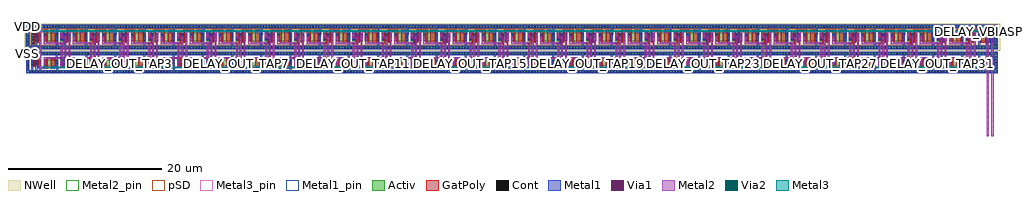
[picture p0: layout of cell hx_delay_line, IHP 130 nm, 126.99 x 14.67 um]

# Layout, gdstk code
import gdstk
lib = gdstk.Library(unit=1e-6, precision=1e-09)
def R(c, l, rs):  # rectangles x0, y0, x1, y1
    for r in rs: c.add(gdstk.rectangle(r[:2], r[2:], *l))
def A(c, l, x, y, w, h, nx, ny, dx, dy):  # array of equal rectangles
    R(c, l, [(x+i*dx, y+j*dy, x+i*dx+w, y+j*dy+h) for i in range(nx) for j in range(ny)])
def P(c, l, *ps):  # polygons
    for p in ps: c.add(gdstk.Polygon(p, *l))
Activ = (1, 0)
GatPoly = (5, 0)
Cont = (6, 0)
Metal1 = (8, 0)
Metal1_pin = (8, 2)
Metal2 = (10, 0)
Metal2_pin = (10, 2)
pSD = (14, 0)
Via1 = (19, 0)
Via2 = (29, 0)
Metal3 = (30, 0)
Metal3_pin = (30, 2)
NWell = (31, 0)

hx_delay_cell_right_endc = lib.new_cell('hx_delay_cell_right_endcap')
R(hx_delay_cell_right_endc, Activ, [(0.715,0.795,2.575,1.535), (0.715,3.935,2.575,5.055)])
P(hx_delay_cell_right_endc, Activ, [(0.6,-0.15),(0.6,0.15),(2.885,0.15),(2.885,2.195),(0.6,2.195),(0.6,2.495),(3.185,2.495),(3.185,-0.15)],
  [(0.6,2.975),(0.6,3.275),(2.885,3.275),(2.885,5.715),(0.6,5.715),(0.6,6.015),(3.185,6.015),(3.185,2.975)])
R(hx_delay_cell_right_endc, GatPoly, [(1.055,0.405,1.655,1.715), (1.055,3.755,1.655,5.445)])
P(hx_delay_cell_right_endc, GatPoly, [(2.035,3.755),(2.035,5.445),(2.575,5.445),(2.575,5.145),(2.235,5.145),(2.235,3.755)],
  [(2.035,0.405),(2.035,1.715),(2.235,1.715),(2.235,0.705),(2.575,0.705),(2.575,0.405)])
A(hx_delay_cell_right_endc, Cont, 0.71, -0.08, 0.16, 0.16, 6, 2, 0.38, 2.345)
A(hx_delay_cell_right_endc, Cont, 2.955, -0.035, 0.16, 0.16, 1, 7, 0, 0.38)
A(hx_delay_cell_right_endc, Cont, 0.71, 3.045, 0.16, 0.16, 6, 2, 0.38, 2.74)
A(hx_delay_cell_right_endc, Cont, 2.955, 3.085, 0.16, 0.16, 1, 8, 0, 0.38)
A(hx_delay_cell_right_endc, Cont, 1.765, 4.005, 0.16, 0.16, 1, 3, 0, 0.385)
A(hx_delay_cell_right_endc, Cont, 2.345, 4.005, 0.16, 0.16, 1, 3, 0, 0.385)
R(hx_delay_cell_right_endc, Cont, [(1.275,0.475,1.435,0.635), (2.345,0.475,2.505,0.635), (0.785,0.965,0.945,1.125), (1.765,0.965,1.925,1.125), (2.345,0.965,2.505,1.125), (0.785,1.305,0.945,1.465), (1.765,1.305,1.925,1.465), (2.345,1.305,2.505,1.465), (0.785,4.005,0.945,4.165), (0.785,4.415,0.945,4.575), (0.785,4.775,0.945,4.935), (1.275,5.215,1.435,5.375), (2.345,5.215,2.505,5.375)])
R(hx_delay_cell_right_endc, Metal1, [(1.21,0.22,1.5,0.705), (1.7,0.22,1.99,2.125), (2.28,0.22,2.57,2.125), (1.7,3.345,1.99,5.645), (2.28,3.345,2.57,5.645), (1.21,5.145,1.5,5.645)])
P(hx_delay_cell_right_endc, Metal1, [(0.6,2.905),(0.6,3.345),(2.815,3.345),(2.815,5.645),(0.6,5.645),(0.6,6.085),(3.255,6.085),(3.255,2.905)],
  [(0.6,-0.22),(0.6,0.22),(2.81,0.22),(2.81,2.125),(0.6,2.125),(0.6,2.565),(3.25,2.565),(3.25,-0.22)],
  [(0.735,3.345),(0.735,4.805),(0.695,4.805),(0.695,5.645),(0.945,5.645),(0.945,4.985),(0.995,4.985),(0.995,3.345)],
  [(0.695,0.22),(0.695,1.125),(0.735,1.125),(0.735,2.125),(0.995,2.125),(0.995,0.86),(0.945,0.86),(0.945,0.22)])
R(hx_delay_cell_right_endc, Metal1_pin, [(0.645,2.125,3.25,2.565), (0.645,2.905,3.255,3.345)])
R(hx_delay_cell_right_endc, pSD, [(0.535,3.36,2.755,5.615)])
P(hx_delay_cell_right_endc, pSD, [(0.57,-0.18),(0.57,0.18),(2.85,0.18),(2.85,2.165),(0.57,2.165),(0.57,2.525),(3.215,2.525),(3.215,-0.18)])
R(hx_delay_cell_right_endc, NWell, [(-1.35,2.735,3.54,6.255)])
hx_delay_cell_right_endc.add(gdstk.Label('VDD', (3.045,3.305), layer=8, texttype=25))
hx_delay_cell_right_endc.add(gdstk.Label('VSS', (3.005,2.515), layer=8, texttype=25))

hx_delay_cell_left_endca = lib.new_cell('hx_delay_cell_left_endcap')
R(hx_delay_cell_left_endca, Activ, [(0.61,0.795,1.93,1.535), (0.61,3.935,1.93,5.055)])
P(hx_delay_cell_left_endca, Activ, [(0,2.975),(0,6.015),(2.115,6.015),(2.115,5.715),(0.3,5.715),(0.3,3.275),(2.115,3.275),(2.115,2.975)],
  [(0,-0.15),(0,2.495),(2.115,2.495),(2.115,2.195),(0.3,2.195),(0.3,0.15),(2.115,0.15),(2.115,-0.15)])
P(hx_delay_cell_left_endca, GatPoly, [(0.61,3.545),(0.61,3.845),(0.95,3.845),(0.95,5.235),(1.08,5.235),(1.08,3.545)],
  [(1.46,3.755),(1.46,5.145),(1.375,5.145),(1.375,5.445),(1.675,5.445),(1.675,5.145),(1.59,5.145),(1.59,3.755)],
  [(1.375,0.42),(1.375,0.72),(1.46,0.72),(1.46,1.73),(1.59,1.73),(1.59,0.72),(1.675,0.72),(1.675,0.42)],
  [(0.95,0.615),(0.95,1.625),(0.61,1.625),(0.61,1.925),(1.08,1.925),(1.08,0.615)])
A(hx_delay_cell_left_endca, Cont, 0.325, -0.08, 0.16, 0.16, 5, 2, 0.38, 2.345)
A(hx_delay_cell_left_endca, Cont, 0.07, 0.345, 0.16, 0.16, 1, 5, 0, 0.38)
A(hx_delay_cell_left_endca, Cont, 0.325, 3.045, 0.16, 0.16, 5, 2, 0.38, 2.74)
A(hx_delay_cell_left_endca, Cont, 0.07, 3.465, 0.16, 0.16, 1, 6, 0, 0.38)
R(hx_delay_cell_left_endca, Cont, [(1.445,0.49,1.605,0.65), (0.68,0.865,0.84,1.025), (1.19,0.965,1.35,1.125), (1.7,0.965,1.86,1.125), (0.68,1.205,0.84,1.365), (1.19,1.305,1.35,1.465), (1.7,1.305,1.86,1.465), (0.68,1.695,0.84,1.855), (0.68,3.615,0.84,3.775), (1.19,4.005,1.35,4.165), (1.7,4.005,1.86,4.165), (0.68,4.13,0.84,4.29), (1.19,4.415,1.35,4.575), (1.7,4.415,1.86,4.575), (0.68,4.475,0.84,4.635), (1.19,4.775,1.35,4.935), (1.7,4.775,1.86,4.935), (0.68,4.825,0.84,4.985), (1.445,5.215,1.605,5.375)])
R(hx_delay_cell_left_endca, Metal1, [(0.63,0.22,0.89,2.125), (0.615,3.345,0.905,5.645)])
P(hx_delay_cell_left_endca, Metal1, [(1.14,3.345),(1.14,5.645),(1.385,5.645),(1.385,5.445),(1.635,5.445),(1.635,5.645),(1.925,5.645),(1.925,3.345),(1.635,3.345),(1.635,5.145),(1.385,5.145),(1.385,3.345)],
  [(1.14,0.22),(1.14,2.125),(1.4,2.125),(1.4,0.72),(1.65,0.72),(1.65,2.125),(1.91,2.125),(1.91,0.22),(1.65,0.22),(1.65,0.42),(1.4,0.42),(1.4,0.22)],
  [(-0.075,2.905),(-0.075,6.085),(2.115,6.085),(2.115,5.645),(0.375,5.645),(0.375,3.345),(2.115,3.345),(2.115,2.905)],
  [(-0.07,-0.22),(-0.07,2.565),(2.115,2.565),(2.115,2.125),(0.38,2.125),(0.38,0.22),(2.115,0.22),(2.115,-0.22)])
R(hx_delay_cell_left_endca, Metal1_pin, [(-0.07,-0.22,2.115,0.22), (-0.07,2.125,1.395,2.565), (-0.075,2.905,1.395,3.345), (-0.075,5.645,2.115,6.085)])
R(hx_delay_cell_left_endca, pSD, [(0.43,3.36,2.17,5.615)])
P(hx_delay_cell_left_endca, pSD, [(-0.03,-0.18),(-0.03,2.525),(2.225,2.525),(2.225,2.165),(0.34,2.165),(0.34,0.18),(2.225,0.18),(2.225,-0.18)])
R(hx_delay_cell_left_endca, NWell, [(-0.335,2.735,2.465,6.255)])
hx_delay_cell_left_endca.add(gdstk.Label('VSS', (0.15,0.17), layer=8, texttype=25))
hx_delay_cell_left_endca.add(gdstk.Label('VDD', (0.14,3.305), layer=8, texttype=25))
hx_delay_cell_left_endca.add(gdstk.Label('VSS', (0.175,2.515), layer=8, texttype=25))

hx_delay_cell = lib.new_cell('hx_delay_cell')
R(hx_delay_cell, Activ, [(0,-0.15,3.8,0.15), (0.115,0.795,1.975,1.535), (2.285,0.795,3.605,1.535), (0,2.195,3.8,2.495), (0,2.975,3.8,3.275), (0.115,3.935,1.975,5.055), (2.285,3.935,3.605,5.055), (0,5.715,3.8,6.015)])
R(hx_delay_cell, GatPoly, [(1.035,0.405,1.635,1.715), (1.035,3.755,1.635,5.445)])
P(hx_delay_cell, GatPoly, [(0.115,0.405),(0.115,0.705),(0.455,0.705),(0.455,1.715),(0.655,1.715),(0.655,0.405)],
  [(0.455,3.755),(0.455,5.145),(0.115,5.145),(0.115,5.445),(0.655,5.445),(0.655,3.755)],
  [(2.285,3.545),(2.285,3.845),(2.625,3.845),(2.625,5.235),(2.755,5.235),(2.755,3.545)],
  [(3.135,3.755),(3.135,5.145),(3.05,5.145),(3.05,5.445),(3.35,5.445),(3.35,5.145),(3.265,5.145),(3.265,3.755)],
  [(2.625,0.615),(2.625,1.625),(2.285,1.625),(2.285,1.925),(2.755,1.925),(2.755,0.615)],
  [(3.05,0.42),(3.05,0.72),(3.135,0.72),(3.135,1.73),(3.265,1.73),(3.265,0.72),(3.35,0.72),(3.35,0.42)])
A(hx_delay_cell, Cont, 0.11, -0.08, 0.16, 0.16, 10, 2, 0.38, 2.345)
A(hx_delay_cell, Cont, 0.11, 3.045, 0.16, 0.16, 10, 2, 0.38, 2.74)
A(hx_delay_cell, Cont, 0.185, 4.005, 0.16, 0.16, 1, 3, 0, 0.385)
R(hx_delay_cell, Cont, [(0.185,0.475,0.345,0.635), (1.255,0.475,1.415,0.635), (3.12,0.49,3.28,0.65), (2.355,0.865,2.515,1.025), (0.185,0.965,0.345,1.125), (1.745,0.965,1.905,1.125), (2.865,0.965,3.025,1.125), (3.375,0.965,3.535,1.125), (2.355,1.205,2.515,1.365), (0.185,1.305,0.345,1.465), (1.745,1.305,1.905,1.465), (2.865,1.305,3.025,1.465), (3.375,1.305,3.535,1.465), (2.355,1.695,2.515,1.855), (2.355,3.615,2.515,3.775), (1.745,4.005,1.905,4.165), (2.865,4.005,3.025,4.165), (3.375,4.005,3.535,4.165), (2.355,4.13,2.515,4.29), (1.745,4.415,1.905,4.575), (2.865,4.415,3.025,4.575), (3.375,4.415,3.535,4.575), (2.355,4.475,2.515,4.635), (1.745,4.775,1.905,4.935), (2.865,4.775,3.025,4.935), (3.375,4.775,3.535,4.935), (2.355,4.825,2.515,4.985), (0.185,5.215,0.345,5.375), (1.255,5.215,1.415,5.375), (3.12,5.215,3.28,5.375)])
R(hx_delay_cell, Metal1, [(1.19,0.41,1.48,0.79), (0.05,0.425,0.405,0.685), (0.12,0.9,0.41,1.6), (3.325,0.9,3.585,1.6), (2.205,1.63,2.58,1.92), (2.205,3.55,2.58,3.84), (3.31,3.935,3.6,4.985), (0.12,3.94,0.41,4.945), (1.19,5.06,1.48,5.44), (0.03,5.15,0.41,5.44)])
P(hx_delay_cell, Metal1, [(2.305,0.44),(2.305,1.43),(2.565,1.43),(2.565,0.7),(3.33,0.7),(3.33,0.44)],
  [(2.29,4.065),(2.29,5.425),(3.33,5.425),(3.33,5.165),(2.58,5.165),(2.58,4.065)],
  [(0,-0.22),(0,0.22),(1.745,0.22),(1.745,0.86),(1.695,0.86),(1.695,2.125),(0,2.125),(0,2.565),(3.8,2.565),(3.8,2.125),(3.075,2.125),(3.075,0.9),(2.815,0.9),(2.815,2.125),(1.955,2.125),(1.955,1.125),(1.995,1.125),(1.995,0.22),(3.8,0.22),(3.8,-0.22)],
  [(0,2.905),(0,3.345),(1.695,3.345),(1.695,4.985),(1.745,4.985),(1.745,5.645),(0,5.645),(0,6.085),(3.8,6.085),(3.8,5.645),(1.995,5.645),(1.995,4.805),(1.955,4.805),(1.955,3.345),(2.815,3.345),(2.815,4.985),(3.06,4.985),(3.06,3.345),(3.8,3.345),(3.8,2.905)])
R(hx_delay_cell, Metal1_pin, [(0,-0.22,2.075,0.22), (2.795,-0.22,3.8,0.22), (0,2.125,2.095,2.565), (0,2.905,2.095,3.345), (0,5.645,3.8,6.085)])
R(hx_delay_cell, Metal2, [(1.07,0.385,1.58,0.79), (1.08,5.06,1.59,5.465)])
P(hx_delay_cell, Metal2, [(-0.49,0.41),(-0.49,1.625),(-0.455,1.625),(-0.455,3.935),(-0.49,3.935),(-0.49,5.44),(0.41,5.44),(0.41,5.15),(-0.2,5.15),(-0.2,3.935),(-0.235,3.935),(-0.235,1.615),(-0.2,1.615),(-0.2,0.665),(0.405,0.665),(0.405,0.41)],
  [(0.12,0.92),(0.12,1.885),(2.285,1.885),(2.285,1.925),(2.345,1.925),(2.345,3.545),(2.265,3.545),(2.265,3.585),(0.12,3.585),(0.12,4.64),(0.41,4.64),(0.41,3.84),(2.58,3.84),(2.58,1.665),(0.41,1.665),(0.41,0.92)],
  [(2.29,0.73),(2.29,1.43),(2.83,1.43),(2.83,4.35),(2.29,4.35),(2.29,5.035),(2.58,5.035),(2.58,4.57),(3.05,4.57),(3.05,1.195),(2.58,1.195),(2.58,0.73)],
  [(3.31,0.41),(3.31,1.625),(3.345,1.625),(3.345,3.935),(3.31,3.935),(3.31,5.44),(4.21,5.44),(4.21,5.15),(3.6,5.15),(3.6,3.935),(3.565,3.935),(3.565,1.615),(3.6,1.615),(3.6,0.665),(4.205,0.665),(4.205,0.41)])
R(hx_delay_cell, Metal2_pin, [(-0.455,2.34,-0.235,3.14), (2.83,2.34,3.05,3.14), (3.345,2.34,3.565,3.14)])
R(hx_delay_cell, pSD, [(-0.07,-0.18,3.91,0.18), (-0.07,2.165,3.91,2.525), (-0.065,3.36,3.83,5.615)])
R(hx_delay_cell, Via1, [(0.165,0.46,0.355,0.65), (1.24,0.46,1.43,0.65), (2.34,0.78,2.53,0.97), (0.17,0.95,0.36,1.14), (3.36,0.95,3.55,1.14), (2.34,1.19,2.53,1.38), (0.17,1.36,0.36,1.55), (3.36,1.36,3.55,1.55), (2.34,1.68,2.53,1.87), (2.34,3.6,2.53,3.79), (0.17,3.99,0.36,4.18), (3.36,3.99,3.55,4.18), (0.17,4.4,0.36,4.59), (2.34,4.4,2.53,4.59), (3.36,4.4,3.55,4.59), (2.34,4.81,2.53,5), (0.17,5.2,0.36,5.39), (1.24,5.2,1.43,5.39)])
R(hx_delay_cell, Via2, [(1.24,0.46,1.43,0.65), (1.24,5.2,1.43,5.39)])
P(hx_delay_cell, Metal3, [(1.19,5.15),(1.19,5.175),(0,5.175),(0,5.415),(1.19,5.415),(1.19,5.465),(1.48,5.465),(1.48,5.415),(3.8,5.415),(3.8,5.175),(1.48,5.175),(1.48,5.15)],
  [(1.19,0.41),(1.19,0.435),(0,0.435),(0,0.675),(1.19,0.675),(1.19,0.7),(1.48,0.7),(1.48,0.675),(3.8,0.675),(3.8,0.435),(1.48,0.435),(1.48,0.41)])
R(hx_delay_cell, Metal3_pin, [(1.01,0.435,1.66,0.675), (1,5.175,1.67,5.415)])
R(hx_delay_cell, NWell, [(-0.24,2.735,4.04,6.255)])
hx_delay_cell.add(gdstk.Label('VDD', (0.04,6.05), layer=8, texttype=25))
hx_delay_cell.add(gdstk.Label('VSS', (2.835,0.19), layer=8, texttype=25))
hx_delay_cell.add(gdstk.Label('VDD', (0.065,3.32), layer=8, texttype=25))
hx_delay_cell.add(gdstk.Label('VSS', (0.07,2.525), layer=8, texttype=25))
hx_delay_cell.add(gdstk.Label('VSS', (0.03,0.195), layer=8, texttype=25))
hx_delay_cell.add(gdstk.Label('DELAY_CELL_OUT_INV', (3.43,2.8), layer=10, texttype=25))
hx_delay_cell.add(gdstk.Label('DELAY_CELL_OUT', (2.915,2.79), layer=10, texttype=25))
hx_delay_cell.add(gdstk.Label('DELAY_CELL_IN', (-0.32,2.755), layer=10, texttype=25))
hx_delay_cell.add(gdstk.Label('DELAY_VBIASP', (1.285,5.275), layer=30, texttype=25))
hx_delay_cell.add(gdstk.Label('DELAY_VBIASN', (1.33,0.555), layer=30, texttype=25))

hx_delay_line = lib.new_cell('hx_delay_line')
R(hx_delay_line, Metal1_pin, [(-0.07,2.125,0.73,2.565), (-0.075,5.645,0.725,6.085)])
R(hx_delay_line, Metal2, [(124.93,-8.415,125.22,6.085), (125.52,-8.415,125.81,6.085), (1.625,0.41,1.915,5.445), (123.225,0.9,123.515,4.64)])
A(hx_delay_line, Metal2_pin, 4.44, 0.73, 0.22, 0.7, 31, 1, 3.8, 0)
R(hx_delay_line, Metal2_pin, [(1.625,0.41,1.915,5.445), (123.225,0.9,123.515,4.64)])
R(hx_delay_line, Via2, [(125.57,0.455,125.76,0.645), (124.98,5.2,125.17,5.39)])
P(hx_delay_line, Metal3, [(125.515,0.405),(125.515,0.435),(123.715,0.435),(123.715,0.675),(125.52,0.675),(125.52,0.695),(125.81,0.695),(125.81,0.435),(125.81,0.405)],
  [(124.93,5.15),(124.93,5.175),(123.715,5.175),(123.715,5.415),(124.93,5.415),(124.93,5.44),(125.22,5.44),(125.22,5.15)])
R(hx_delay_line, Metal3_pin, [(123.715,0.435,125.81,0.675), (123.715,5.175,125.22,5.415)])
hx_delay_line.add(gdstk.Reference(hx_delay_cell_right_endc, (123.115,0)))
hx_delay_line.add(gdstk.Reference(hx_delay_cell_left_endca, (0,0)))
r = gdstk.Reference(hx_delay_cell, (2.115,0)); r.repetition = gdstk.Repetition(32, 1, v1=(3.8,0), v2=(0,0)); hx_delay_line.add(r)
hx_delay_line.add(gdstk.Label('VDD', (0.15,5.85), layer=8, texttype=25))
hx_delay_line.add(gdstk.Label('VSS', (0.155,2.33), layer=8, texttype=25))
hx_delay_line.add(gdstk.Label('DELAY_OUT_TAP1', (4.53,1.075), layer=10, texttype=25))
hx_delay_line.add(gdstk.Label('DELAY_OUT_TAP2', (8.33,1.075), layer=10, texttype=25))
hx_delay_line.add(gdstk.Label('DELAY_OUT_TAP3', (12.13,1.075), layer=10, texttype=25))
hx_delay_line.add(gdstk.Label('DELAY_OUT_TAP4', (15.93,1.075), layer=10, texttype=25))
hx_delay_line.add(gdstk.Label('DELAY_OUT_TAP5', (19.73,1.005), layer=10, texttype=25))
hx_delay_line.add(gdstk.Label('DELAY_OUT_TAP6', (23.53,1.005), layer=10, texttype=25))
hx_delay_line.add(gdstk.Label('DELAY_OUT_TAP7', (27.33,1.005), layer=10, texttype=25))
hx_delay_line.add(gdstk.Label('DELAY_OUT_TAP8', (31.13,1.005), layer=10, texttype=25))
hx_delay_line.add(gdstk.Label('DELAY_OUT_TAP9', (34.93,1.005), layer=10, texttype=25))
hx_delay_line.add(gdstk.Label('DELAY_OUT_TAP10', (38.73,1.005), layer=10, texttype=25))
hx_delay_line.add(gdstk.Label('DELAY_OUT_TAP11', (42.53,1.005), layer=10, texttype=25))
hx_delay_line.add(gdstk.Label('DELAY_OUT_TAP12', (46.33,1.005), layer=10, texttype=25))
hx_delay_line.add(gdstk.Label('DELAY_OUT_TAP13', (50.13,1.005), layer=10, texttype=25))
hx_delay_line.add(gdstk.Label('DELAY_OUT_TAP14', (53.93,1.005), layer=10, texttype=25))
hx_delay_line.add(gdstk.Label('DELAY_OUT_TAP15', (57.73,1.005), layer=10, texttype=25))
hx_delay_line.add(gdstk.Label('DELAY_OUT_TAP16', (61.53,1.005), layer=10, texttype=25))
hx_delay_line.add(gdstk.Label('DELAY_OUT_TAP17', (65.33,1.005), layer=10, texttype=25))
hx_delay_line.add(gdstk.Label('DELAY_OUT_TAP18', (69.13,1.005), layer=10, texttype=25))
hx_delay_line.add(gdstk.Label('DELAY_OUT_TAP19', (72.93,1.005), layer=10, texttype=25))
hx_delay_line.add(gdstk.Label('DELAY_OUT_TAP20', (76.73,1.005), layer=10, texttype=25))
hx_delay_line.add(gdstk.Label('DELAY_OUT_TAP21', (80.53,1.005), layer=10, texttype=25))
hx_delay_line.add(gdstk.Label('DELAY_OUT_TAP22', (84.33,1.005), layer=10, texttype=25))
hx_delay_line.add(gdstk.Label('DELAY_OUT_TAP23', (88.13,1.005), layer=10, texttype=25))
hx_delay_line.add(gdstk.Label('DELAY_OUT_TAP24', (91.93,1.005), layer=10, texttype=25))
hx_delay_line.add(gdstk.Label('DELAY_OUT_TAP25', (95.73,1.005), layer=10, texttype=25))
hx_delay_line.add(gdstk.Label('DELAY_OUT_TAP26', (99.53,1.005), layer=10, texttype=25))
hx_delay_line.add(gdstk.Label('DELAY_OUT_TAP27', (103.33,1.005), layer=10, texttype=25))
hx_delay_line.add(gdstk.Label('DELAY_OUT_TAP28', (107.13,1.005), layer=10, texttype=25))
hx_delay_line.add(gdstk.Label('DELAY_OUT_TAP29', (110.93,1.005), layer=10, texttype=25))
hx_delay_line.add(gdstk.Label('DELAY_OUT_TAP30', (114.73,1.005), layer=10, texttype=25))
hx_delay_line.add(gdstk.Label('DELAY_OUT_TAP31', (118.53,1.005), layer=10, texttype=25))
hx_delay_line.add(gdstk.Label('DELAY_IN', (1.78,2.57), layer=10, texttype=25))
hx_delay_line.add(gdstk.Label('DELAY_OUT', (123.365,2.695), layer=10, texttype=25))
hx_delay_line.add(gdstk.Label('DELAY_VBIASN', (125.655,0.545), layer=30, texttype=25))
hx_delay_line.add(gdstk.Label('DELAY_VBIASP', (125.07,5.29), layer=30, texttype=25))

lib.write_gds('hx_delay_line.gds')
